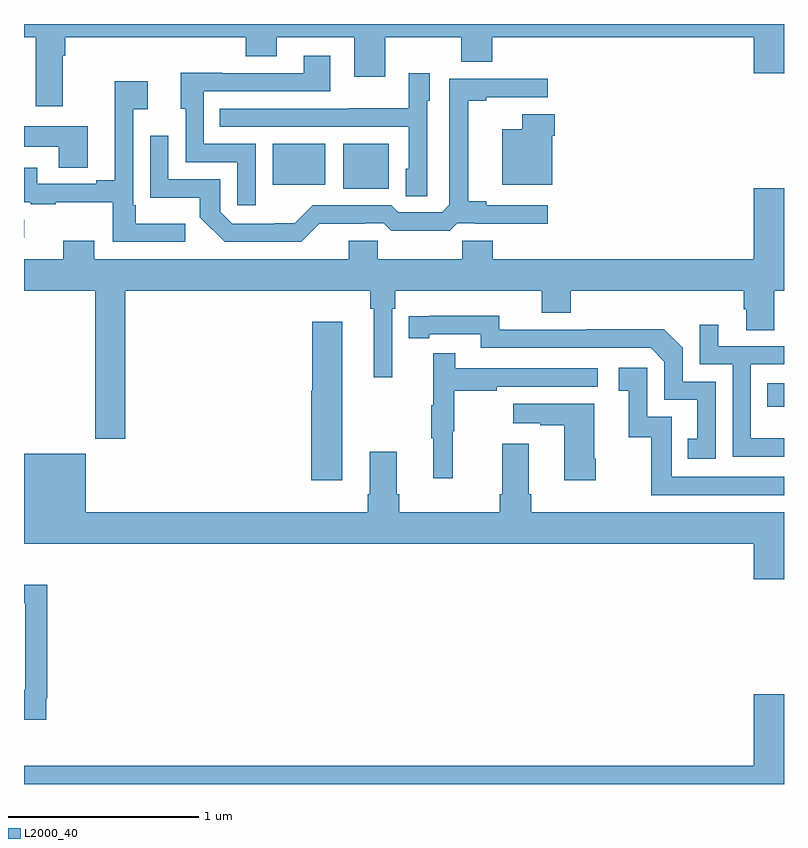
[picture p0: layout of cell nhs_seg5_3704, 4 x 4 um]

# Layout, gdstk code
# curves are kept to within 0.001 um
import gdstk
lib = gdstk.Library(unit=1e-6, precision=1e-09)
def R(c, l, rs):  # rectangles x0, y0, x1, y1
    for r in rs: c.add(gdstk.rectangle(r[:2], r[2:], *l))
def P(c, l, *ps):  # polygons
    for p in ps: c.add(gdstk.Polygon(p, *l))
L2000_40 = (2000, 40)

nhs_seg5_3704 = lib.new_cell('nhs_seg5_3704')
R(nhs_seg5_3704, L2000_40, [(332.911,886.785,333,886.908), (329,887.675,329.002,887.769), (330.68,887.933,330.919,888.169), (330.308,887.954,330.586,888.169)])
P(nhs_seg5_3704, L2000_40, [(329.203,888.632),(329.216,888.632),(329.216,888.728),(330.167,888.728),(330.167,888.629),(330.331,888.629),(330.331,888.728),(330.737,888.728),(330.737,888.522),(330.901,888.522),(330.901,888.728),(331.301,888.728),(331.301,888.6),(331.465,888.6),(331.465,888.728),(332.84,888.728),(332.84,888.54),(333,888.54),(333,888.799),(329,888.799),(329,888.728),(329.063,888.728),(329.063,888.366),(329.203,888.366)],
  [(330.219,888.168),(329.946,888.168),(329.946,888.444),(330.613,888.444),(330.613,888.631),(330.473,888.631),(330.473,888.54),(330.043,888.54),(330.043,888.542),(329.825,888.542),(329.825,888.354),(329.85,888.354),(329.85,888.072),(330.123,888.072),(330.123,887.844),(330.219,887.844)],
  [(331.122,888.396),(331.135,888.396),(331.135,888.541),(331.026,888.541),(331.026,888.355),(330.709,888.355),(330.709,888.354),(330.031,888.354),(330.031,888.258),(331.026,888.258),(331.026,888.036),(331.01,888.036),(331.01,887.893),(331.122,887.893)],
  [(330.554,887.747),(330.794,887.747),(330.794,887.751),(330.894,887.751),(330.934,887.712),(331.241,887.712),(331.281,887.751),(331.375,887.751),(331.375,887.747),(331.756,887.747),(331.756,887.844),(331.432,887.844),(331.432,887.867),(331.337,887.867),(331.337,888.394),(331.432,888.394),(331.432,888.414),(331.756,888.414),(331.756,888.51),(331.239,888.51),(331.239,887.847),(331.2,887.808),(330.969,887.808),(330.933,887.844),(330.519,887.844),(330.425,887.75),(330.32,887.75),(330.32,887.748),(330.096,887.748),(330.033,887.811),(330.033,887.982),(329.76,887.982),(329.76,888.211),(329.664,888.211),(329.664,887.885),(329.926,887.885),(329.926,887.783),(330.056,887.652),(330.459,887.652)],
  [(329.848,887.749),(329.587,887.749),(329.587,887.845),(329.574,887.845),(329.574,888.35),(329.65,888.35),(329.65,888.499),(329.477,888.499),(329.477,887.977),(329.381,887.977),(329.381,887.958),(329.071,887.958),(329.071,888.043),(329,888.043),(329,887.862),(329.035,887.862),(329.035,887.85),(329.167,887.85),(329.167,887.861),(329.466,887.861),(329.466,887.652),(329.848,887.652)],
  [(331.78,888.212),(331.793,888.212),(331.793,888.325),(331.622,888.325),(331.622,888.244),(331.517,888.244),(331.517,887.954),(331.78,887.954)],
  [(329.335,888.262),(329,888.262),(329,888.152),(329.183,888.152),(329.183,888.043),(329.335,888.043)],
  [(329.534,887.396),(330.823,887.396),(330.823,887.3),(330.842,887.3),(330.842,886.941),(330.939,886.941),(330.939,887.3),(330.953,887.3),(330.953,887.396),(331.724,887.396),(331.724,887.279),(331.877,887.279),(331.877,887.396),(332.789,887.396),(332.789,887.298),(332.801,887.298),(332.801,887.188),(332.949,887.188),(332.949,887.396),(333,887.396),(333,887.935),(332.84,887.935),(332.84,887.56),(331.466,887.56),(331.466,887.658),(331.306,887.658),(331.306,887.56),(330.861,887.56),(330.861,887.658),(330.71,887.658),(330.71,887.56),(329.371,887.56),(329.371,887.659),(329.207,887.659),(329.207,887.56),(329,887.56),(329,887.396),(329.374,887.396),(329.374,886.617),(329.534,886.617)],
  [(332.64,886.917),(332.466,886.917),(332.466,887.094),(332.368,887.192),(331.96,887.192),(331.96,887.19),(331.5,887.19),(331.5,887.263),(331.024,887.262),(331.024,887.146),(331.132,887.146),(331.132,887.166),(331.404,887.166),(331.404,887.094),(332.298,887.094),(332.37,887.022),(332.37,886.821),(332.543,886.821),(332.543,886.617),(332.494,886.617),(332.494,886.512),(332.64,886.512)],
  [(330.676,887.233),(330.518,887.233),(330.518,886.869),(330.512,886.869),(330.512,886.398),(330.676,886.398)],
  [(333,886.618),(332.826,886.618),(332.826,887.007),(333,887.007),(333,887.103),(332.653,887.103),(332.653,887.215),(332.556,887.215),(332.556,887.007),(332.73,887.007),(332.73,886.521),(333,886.521)],
  [(331.256,886.656),(331.264,886.656),(331.264,886.87),(331.487,886.87),(331.487,886.89),(332.02,886.89),(332.02,886.986),(331.271,886.986),(331.271,887.065),(331.154,887.065),(331.154,886.793),(331.143,886.793),(331.143,886.619),(331.154,886.619),(331.154,886.407),(331.256,886.407)],
  [(333,886.416),(332.409,886.416),(332.409,886.731),(332.28,886.731),(332.28,886.99),(332.13,886.99),(332.13,886.869),(332.183,886.869),(332.183,886.623),(332.301,886.623),(332.301,886.32),(333,886.32)],
  [(332.01,886.51),(332.002,886.51),(332.002,886.801),(331.575,886.801),(331.575,886.697),(331.718,886.697),(331.718,886.687),(331.844,886.687),(331.844,886.398),(332.01,886.398)],
  [(331.517,886.591),(331.517,886.324),(331.505,886.324),(331.505,886.228),(330.974,886.228),(330.974,886.324),(330.961,886.324),(330.961,886.549),(330.821,886.549),(330.821,886.324),(330.809,886.324),(330.809,886.228),(329.326,886.228),(329.326,886.537),(329,886.537),(329,886.064),(332.84,886.064),(332.84,885.876),(333,885.876),(333,886.228),(331.67,886.228),(331.67,886.324),(331.657,886.324),(331.657,886.591)],
  [(329.116,885.25),(329.123,885.25),(329.123,885.848),(329,885.848),(329,885.75),(329.007,885.75),(329.007,885.294),(329,885.294),(329,885.138),(329.116,885.138)],
  [(333,885.271),(332.84,885.271),(332.84,884.896),(329,884.896),(329,884.799),(333,884.799)])

lib.write_gds('nhs_seg5_3704.gds')
